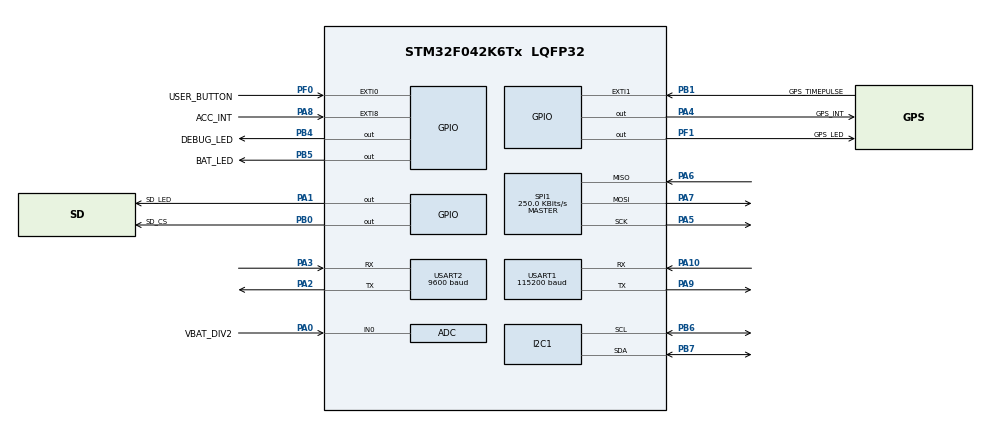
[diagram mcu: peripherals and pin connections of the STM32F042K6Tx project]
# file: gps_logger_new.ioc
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ADC.ClockPrescaler=ADC_CLOCK_SYNC_PCLK_DIV2
ADC.SamplingTime=ADC_SAMPLETIME_239CYCLES_5
Dma.ADC.0.Direction=DMA_PERIPH_TO_MEMORY
Dma.ADC.0.Instance=DMA1_Channel1
Dma.ADC.0.MemDataAlignment=DMA_MDATAALIGN_WORD
Dma.ADC.0.MemInc=DMA_MINC_ENABLE
Dma.ADC.0.Mode=DMA_NORMAL
Dma.ADC.0.PeriphDataAlignment=DMA_PDATAALIGN_WORD
Dma.ADC.0.PeriphInc=DMA_PINC_DISABLE
Dma.ADC.0.Priority=DMA_PRIORITY_LOW
Dma.Request0=ADC
FATFS._CODE_PAGE=1
FATFS._USE_MKFS=0
I2C1.Timing=0x2000090E
Mcu.Family=STM32F0
Mcu.Name=STM32F042K6Tx
Mcu.Package=LQFP32
NVIC.DMA1_Channel1_IRQn=true\:0\:0\:false\:false\:true
NVIC.EXTI0_1_IRQn=true\:0\:0\:false\:false\:true
NVIC.EXTI4_15_IRQn=true\:0\:0\:false\:false\:true
NVIC.USART2_IRQn=true\:0\:0\:false\:false\:true
PA0.GPIO_Label=VBAT_DIV2
PA0.Mode=IN0
PA0.Signal=ADC_IN0
PA1.GPIO_Label=SD_LED
PA1.Signal=GPIO_Output
PA10.Mode=Asynchronous
PA10.Signal=USART1_RX
PA13.Mode=Serial_Wire
PA13.Signal=SYS_SWDIO
PA14.Mode=Serial_Wire
PA14.Signal=SYS_SWCLK
PA2.Mode=Asynchronous
PA2.Signal=USART2_TX
PA3.Mode=Asynchronous
PA3.Signal=USART2_RX
PA4.GPIO_Label=GPS_INT
PA4.PinState=GPIO_PIN_SET
PA4.Signal=GPIO_Output
PA5.Mode=Full_Duplex_Master
PA5.Signal=SPI1_SCK
PA6.Mode=Full_Duplex_Master
PA6.Signal=SPI1_MISO
PA7.Mode=Full_Duplex_Master
PA7.Signal=SPI1_MOSI
PA8.GPIO_Label=ACC_INT
PA8.GPIO_PuPd=GPIO_PULLDOWN
PA8.Signal=GPXTI8
PA9.Mode=Asynchronous
PA9.Signal=USART1_TX
PB0.GPIO_Label=SD_CS
PB0.PinState=GPIO_PIN_SET
PB0.Signal=GPIO_Output
PB1.GPIO_Label=GPS_TIMEPULSE
PB1.GPIO_PuPd=GPIO_PULLDOWN
PB1.Signal=GPXTI1
PB4.GPIO_Label=DEBUG_LED
PB4.Signal=GPIO_Output
PB5.GPIO_Label=BAT_LED
PB5.Signal=GPIO_Output
PB6.Mode=I2C
PB6.Signal=I2C1_SCL
PB7.Mode=I2C
PB7.Signal=I2C1_SDA
PF0-OSC_IN.GPIO_Label=USER_BUTTON
PF0-OSC_IN.GPIO_ModeDefaultEXTI=GPIO_MODE_IT_FALLING
PF0-OSC_IN.GPIO_PuPd=GPIO_PULLUP
PF0-OSC_IN.Signal=GPXTI0
PF1-OSC_OUT.GPIO_Label=GPS_LED
PF1-OSC_OUT.Signal=GPIO_Output
ProjectManager.HeapSize=0x200
ProjectManager.StackSize=0x400
ProjectManager.TargetToolchain=MDK-ARM V5
RCC.Usart1ClockSelection=RCC_USART1CLKSOURCE_HSI
RCC.VDD_VALUE=3
SPI1.BaudRatePrescaler=SPI_BAUDRATEPRESCALER_32
SPI1.CLKPolarity=SPI_POLARITY_LOW
SPI1.CalculateBaudRate=250.0 KBits/s
SPI1.DataSize=SPI_DATASIZE_8BIT
SPI1.Mode=SPI_MODE_MASTER
USART1.BaudRate=115200
USART1.WordLength=UART_WORDLENGTH_8B
USART2.BaudRate=9600
USART2.WordLength=UART_WORDLENGTH_8B
VP_ADC_Vref_Input.Mode=IN-Vrefint
VP_FATFS_VS_Generic.Mode=User_defined
board=gps_logger_new

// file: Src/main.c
/**
  ******************************************************************************
  * File Name          : main.c
  * Description        : Main program body
  ******************************************************************************
  *
  * COPYRIGHT(c) 2016 STMicroelectronics
  *
  * Redistribution and use in source and binary forms, with or without modification,
  * are permitted provided that the following conditions are met:
  *   1. Redistributions of source code must retain the above copyright notice,
  *      this list of conditions and the following disclaimer.
  *   2. Redistributions in binary form must reproduce the above copyright notice,
  *      this list of conditions and the following disclaimer in the documentation
  *      and/or other materials provided with the distribution.
  *   3. Neither the name of STMicroelectronics nor the names of its contributors
  *      may be used to endorse or promote products derived from this software
  *      without specific prior written permission.
  *
  * THIS SOFTWARE IS PROVIDED BY THE COPYRIGHT HOLDERS AND CONTRIBUTORS "AS IS"
  * AND ANY EXPRESS OR IMPLIED WARRANTIES, INCLUDING, BUT NOT LIMITED TO, THE
  * IMPLIED WARRANTIES OF MERCHANTABILITY AND FITNESS FOR A PARTICULAR PURPOSE ARE
  * DISCLAIMED. IN NO EVENT SHALL THE COPYRIGHT HOLDER OR CONTRIBUTORS BE LIABLE
  * FOR ANY DIRECT, INDIRECT, INCIDENTAL, SPECIAL, EXEMPLARY, OR CONSEQUENTIAL
  * DAMAGES (INCLUDING, BUT NOT LIMITED TO, PROCUREMENT OF SUBSTITUTE GOODS OR
  * SERVICES; LOSS OF USE, DATA, OR PROFITS; OR BUSINESS INTERRUPTION) HOWEVER
  * CAUSED AND ON ANY THEORY OF LIABILITY, WHETHER IN CONTRACT, STRICT LIABILITY,
  * OR TORT (INCLUDING NEGLIGENCE OR OTHERWISE) ARISING IN ANY WAY OUT OF THE USE
  * OF THIS SOFTWARE, EVEN IF ADVISED OF THE POSSIBILITY OF SUCH DAMAGE.
  *
  ******************************************************************************
  */
#include "stm32f0xx_hal.h"
#include "fatfs.h"

/* USER CODE BEGIN Includes */
#include "sd_util.h"
#include "sleep.h"
#include "user_diskio.h"
#include "axdl345.h"
#include "helpers.h"
#include "mxconstants.h"
#include "shared.h"
#include "minmea.h"
/* USER CODE END Includes */

ADC_HandleTypeDef hadc;
DMA_HandleTypeDef hdma_adc;

I2C_HandleTypeDef hi2c1;

SPI_HandleTypeDef hspi1;

UART_HandleTypeDef huart1;
UART_HandleTypeDef huart2;

/* USER CODE BEGIN PV */
/* Private variables ---------------------------------------------------------*/
#define ACC_MOTION_THRESHOLD 10
#define GPS_SEARCH_PERIOD 4
wakeup_reason_type wakeup_reason;
FRESULT sd_fresult;
FATFS sd_fs;
FIL sd_file;
uint32_t sd_bytes_written;
volatile char gps_byte_buf[1];
linear_buf gps_scratch_lb;
struct minmea_sentence_rmc gps_rmc;
int32_t acc_ts;
float vbat;
int32_t last_fix_ts;
int32_t next_gps_search;
int32_t next_fix_check;
int32_t acc_override;
/* USER CODE END PV */

void SystemClock_Config(void);
void Error_Handler(void);
static void MX_GPIO_Init(void);
static void MX_DMA_Init(void);
static void MX_ADC_Init(void);
static void MX_I2C1_Init(void);
static void MX_SPI1_Init(void);
static void MX_USART1_UART_Init(void);
static void MX_USART2_UART_Init(void);

/* USER CODE BEGIN PFP */
/* Private function prototypes -----------------------------------------------*/

/* USER CODE END PFP */

/* USER CODE BEGIN 0 */
int fputc(int ch, FILE *f)
{
    HAL_UART_Transmit(&huart1, (unsigned char *)&ch, 1, 100);
    return ch;
}

/*
NMEA: disable everything except GGA and RMC
GNSS: enable GPS and GLONASS only
NAV5: wrist SHT: 0.5m/s SHED: 2m
PM2:  Cyclic tracking, updateperiod 4s  search period 30s, matm, ot, mssd all 0
RATE: 4s
*/
/* USER CODE END 0 */

int main(void)
{

  /* MCU Configuration----------------------------------------------------------*/

  /* Reset of all peripherals, Initializes the Flash interface and the Systick. */
  HAL_Init();

  /* Configure the system clock */
  SystemClock_Config();

  /* Initialize all configured peripherals */
  MX_GPIO_Init();
  MX_DMA_Init();
  MX_ADC_Init();
  MX_I2C1_Init();
  MX_SPI1_Init();
  MX_USART1_UART_Init();
  MX_USART2_UART_Init();
  MX_FATFS_Init();

  /* USER CODE BEGIN 2 */
  acc_ts = 0;
  last_fix_ts = -1;
  next_gps_search = -1;
  next_fix_check = -1;
  acc_override = -1;
  gps_off();
  acc_init();
  hwif_init_0();
  linear_buf_init(&gps_scratch_lb);
  printf("mounting...\n");
  sd_fresult = f_mount(&sd_fs, "", 1);
  if(sd_fresult != FR_OK)
    sd_error(sd_fresult);
  /* USER CODE END 2 */

  /* Infinite loop */
  /* USER CODE BEGIN WHILE */
  battery_crtl(1);
  deepsleep();
  while (1)
  {
  /* USER CODE END WHILE */

  /* USER CODE BEGIN 3 */
    if(wakeup_reason == USER_BUTTON)
    {
      printf("user button\n");
      if(gps_rmc.valid && last_fix_ts == acc_ts)
        HAL_GPIO_WritePin(GPS_LED_GPIO_Port, GPS_LED_Pin, HIGH);
      else
        HAL_GPIO_WritePin(GPS_LED_GPIO_Port, GPS_LED_Pin, LOW);
      vbat = check_battery();
      printf("battery: %f\n", vbat);
      if(vbat >= 1 && vbat < 3.5)
        HAL_GPIO_WritePin(BAT_LED_GPIO_Port, BAT_LED_Pin, HIGH);
      else if(vbat >= 1 && vbat < 3.4)
        low_bat_shutoff();
      else
        HAL_GPIO_WritePin(BAT_LED_GPIO_Port, BAT_LED_Pin, LOW);

      acc_override = acc_ts + GPS_SEARCH_PERIOD;
      next_fix_check = acc_ts + GPS_SEARCH_PERIOD;
      next_gps_search = -1;
      gps_on();
      HAL_GPIO_WritePin(DEBUG_LED_GPIO_Port, DEBUG_LED_Pin, HIGH);
      printf("overriding acc shutoff until %d\n", acc_override);

      HAL_Delay(1000);
      HAL_GPIO_WritePin(GPS_LED_GPIO_Port, GPS_LED_Pin, LOW);
      HAL_GPIO_WritePin(BAT_LED_GPIO_Port, BAT_LED_Pin, LOW);
    }
    if(wakeup_reason == GPS_TIMEPULSE)
    {
      HAL_GPIO_WritePin(GPS_LED_GPIO_Port, GPS_LED_Pin, HIGH);
      HAL_UART_Receive_IT(gps_uart_ptr, gps_byte_buf, 1);
      if(log_gps(&gps_scratch_lb) == 0)
      {
        printf("gps timepulse\n");
        last_fix_ts = acc_ts;
      }
      linear_buf_reset(&gps_scratch_lb);
      HAL_GPIO_WritePin(GPS_LED_GPIO_Port, GPS_LED_Pin, LOW);
    }
    if(wakeup_reason == ACC_WATERMARK || HAL_GPIO_ReadPin(ACC_INT_GPIO_Port, ACC_INT_Pin) == HIGH)
    {
      acc_ts++;
      vbat = check_battery();
      if(vbat >= 1 && vbat < 3.4)
        low_bat_shutoff();
      int16_t acc_result = acc_read_fifo();
      printf("acc wakeup: %d, %fV, %d, %d, %d, %d\n", acc_result, vbat, acc_ts, next_gps_search, last_fix_ts, next_fix_check);

      if(acc_ts < acc_override)
      {
        printf("user button override, no action.\n");
      }
      else if(acc_result < ACC_MOTION_THRESHOLD)
      {
        // has valid, up to date position fix and speed is great
        if(gps_rmc.valid && last_fix_ts == acc_ts - 1 && minmea_tofloat(&(gps_rmc.speed)) * 0.5144 > 10)
          printf("suppressing gps shutdown...\n");
        else
        {
          printf("no motion\n");
          gps_off();
          HAL_GPIO_WritePin(DEBUG_LED_GPIO_Port, DEBUG_LED_Pin, LOW);
          next_fix_check = acc_ts;
          next_gps_search = -1;
        }
      }
      else if(acc_result >= ACC_MOTION_THRESHOLD && acc_ts >= next_fix_check) // has motion
      {
        // no fix for a while, schedule next check 3 cycles later
        if(gps_status() == HIGH && acc_ts - last_fix_ts >= GPS_SEARCH_PERIOD + 1)
        {
          next_gps_search = acc_ts + GPS_SEARCH_PERIOD;
          printf("no fix in the last %d periods, next try at %d\n", GPS_SEARCH_PERIOD, next_gps_search);
          gps_off();
          HAL_GPIO_WritePin(DEBUG_LED_GPIO_Port, DEBUG_LED_Pin, LOW);
        }
        else if(acc_ts <= next_gps_search)
        {
          printf("waiting for next search period\n");
          gps_off();
          HAL_GPIO_WritePin(DEBUG_LED_GPIO_Port, DEBUG_LED_Pin, LOW);
        }
        else
        {
          gps_on();
          HAL_GPIO_WritePin(DEBUG_LED_GPIO_Port, DEBUG_LED_Pin, HIGH);
          next_fix_check = acc_ts + GPS_SEARCH_PERIOD;
          printf("next_fix_check: %d\n", next_fix_check);
        }
      }
    }
    deepsleep();
  }

  /*
  turn off all lights before low bat shutoff
  low bat shutoff before mounting sd
  walking speed delay gps turn off
  enable low power mode
  look up software reset
  userbutton dump,  led status
  low voltage shut off
  don't forget to pull all sd spi pins to reduce sleep current
  https://edwardmallon.wordpress.com/2014/09/22/high-sleep-current-problem-solved/

  STM32F072 is a cheap and powerful part

  "The HAL_RTC_SetTime() must be called before enabling the Alarm feature"?

  investigate timepulse without fix
  */

  /* USER CODE END 3 */

}

/** System Clock Configuration
*/
void SystemClock_Config(void)
{

  RCC_OscInitTypeDef RCC_OscInitStruct;
  RCC_ClkInitTypeDef RCC_ClkInitStruct;
  RCC_PeriphCLKInitTypeDef PeriphClkInit;

  RCC_OscInitStruct.OscillatorType = RCC_OSCILLATORTYPE_HSI;
  RCC_OscInitStruct.HSIState = RCC_HSI_ON;
  RCC_OscInitStruct.HSICalibrationValue = 16;
  RCC_OscInitStruct.PLL.PLLState = RCC_PLL_NONE;
  if (HAL_RCC_OscConfig(&RCC_OscInitStruct) != HAL_OK)
  {
    Error_Handler();
  }

  RCC_ClkInitStruct.ClockType = RCC_CLOCKTYPE_HCLK|RCC_CLOCKTYPE_SYSCLK
                              |RCC_CLOCKTYPE_PCLK1;
  RCC_ClkInitStruct.SYSCLKSource = RCC_SYSCLKSOURCE_HSI;
  RCC_ClkInitStruct.AHBCLKDivider = RCC_SYSCLK_DIV1;
  RCC_ClkInitStruct.APB1CLKDivider = RCC_HCLK_DIV1;
  if (HAL_RCC_ClockConfig(&RCC_ClkInitStruct, FLASH_LATENCY_0) != HAL_OK)
  {
    Error_Handler();
  }

  PeriphClkInit.PeriphClockSelection = RCC_PERIPHCLK_USART1|RCC_PERIPHCLK_I2C1;
  PeriphClkInit.Usart1ClockSelection = RCC_USART1CLKSOURCE_HSI;
  PeriphClkInit.I2c1ClockSelection = RCC_I2C1CLKSOURCE_HSI;
  if (HAL_RCCEx_PeriphCLKConfig(&PeriphClkInit) != HAL_OK)
  {
    Error_Handler();
  }

  HAL_SYSTICK_Config(HAL_RCC_GetHCLKFreq()/1000);

  HAL_SYSTICK_CLKSourceConfig(SYSTICK_CLKSOURCE_HCLK);

  /* SysTick_IRQn interrupt configuration */
  HAL_NVIC_SetPriority(SysTick_IRQn, 0, 0);
}

/* ADC init function */
static void MX_ADC_Init(void)
{

  ADC_ChannelConfTypeDef sConfig;

    /**Configure the global features of the ADC (Clock, Resolution, Data Alignment and number of conversion)
    */
  hadc.Instance = ADC1;
  hadc.Init.ClockPrescaler = ADC_CLOCK_SYNC_PCLK_DIV2;
  hadc.Init.Resolution = ADC_RESOLUTION_12B;
  hadc.Init.DataAlign = ADC_DATAALIGN_RIGHT;
  hadc.Init.ScanConvMode = ADC_SCAN_DIRECTION_FORWARD;
  hadc.Init.EOCSelection = ADC_EOC_SINGLE_CONV;
  hadc.Init.LowPowerAutoWait = DISABLE;
  hadc.Init.LowPowerAutoPowerOff = DISABLE;
  hadc.Init.ContinuousConvMode = DISABLE;
  hadc.Init.DiscontinuousConvMode = DISABLE;
  hadc.Init.ExternalTrigConvEdge = ADC_EXTERNALTRIGCONVEDGE_NONE;
  hadc.Init.DMAContinuousRequests = DISABLE;
  hadc.Init.Overrun = ADC_OVR_DATA_PRESERVED;
  if (HAL_ADC_Init(&hadc) != HAL_OK)
  {
    Error_Handler();
  }

    /**Configure for the selected ADC regular channel to be converted.
    */
  sConfig.Channel = ADC_CHANNEL_0;
  sConfig.Rank = ADC_RANK_CHANNEL_NUMBER;
  sConfig.SamplingTime = ADC_SAMPLETIME_239CYCLES_5;
  if (HAL_ADC_ConfigChannel(&hadc, &sConfig) != HAL_OK)
  {
    Error_Handler();
  }

    /**Configure for the selected ADC regular channel to be converted.
    */
  sConfig.Channel = ADC_CHANNEL_VREFINT;
  if (HAL_ADC_ConfigChannel(&hadc, &sConfig) != HAL_OK)
  {
    Error_Handler();
  }

}

/* I2C1 init function */
static void MX_I2C1_Init(void)
{

  hi2c1.Instance = I2C1;
  hi2c1.Init.Timing = 0x2000090E;
  hi2c1.Init.OwnAddress1 = 0;
  hi2c1.Init.AddressingMode = I2C_ADDRESSINGMODE_7BIT;
  hi2c1.Init.DualAddressMode = I2C_DUALADDRESS_DISABLE;
  hi2c1.Init.OwnAddress2 = 0;
  hi2c1.Init.OwnAddress2Masks = I2C_OA2_NOMASK;
  hi2c1.Init.GeneralCallMode = I2C_GENERALCALL_DISABLE;
  hi2c1.Init.NoStretchMode = I2C_NOSTRETCH_DISABLE;
  if (HAL_I2C_Init(&hi2c1) != HAL_OK)
  {
    Error_Handler();
  }

    /**Configure Analogue filter
    */
  if (HAL_I2CEx_ConfigAnalogFilter(&hi2c1, I2C_ANALOGFILTER_ENABLE) != HAL_OK)
  {
    Error_Handler();
  }

}

/* SPI1 init function */
static void MX_SPI1_Init(void)
{

  hspi1.Instance = SPI1;
  hspi1.Init.Mode = SPI_MODE_MASTER;
  hspi1.Init.Direction = SPI_DIRECTION_2LINES;
  hspi1.Init.DataSize = SPI_DATASIZE_8BIT;
  hspi1.Init.CLKPolarity = SPI_POLARITY_LOW;
  hspi1.Init.CLKPhase = SPI_PHASE_1EDGE;
  hspi1.Init.NSS = SPI_NSS_SOFT;
  hspi1.Init.BaudRatePrescaler = SPI_BAUDRATEPRESCALER_32;
  hspi1.Init.FirstBit = SPI_FIRSTBIT_MSB;
  hspi1.Init.TIMode = SPI_TIMODE_DISABLE;
  hspi1.Init.CRCCalculation = SPI_CRCCALCULATION_DISABLE;
  hspi1.Init.CRCPolynomial = 7;
  hspi1.Init.CRCLength = SPI_CRC_LENGTH_DATASIZE;
  hspi1.Init.NSSPMode = SPI_NSS_PULSE_ENABLE;
  if (HAL_SPI_Init(&hspi1) != HAL_OK)
  {
    Error_Handler();
  }

}

/* USART1 init function */
static void MX_USART1_UART_Init(void)
{

  huart1.Instance = USART1;
  huart1.Init.BaudRate = 115200;
  huart1.Init.WordLength = UART_WORDLENGTH_8B;
  huart1.Init.StopBits = UART_STOPBITS_1;
  huart1.Init.Parity = UART_PARITY_NONE;
  huart1.Init.Mode = UART_MODE_TX_RX;
  huart1.Init.HwFlowCtl = UART_HWCONTROL_NONE;
  huart1.Init.OverSampling = UART_OVERSAMPLING_16;
  huart1.Init.OneBitSampling = UART_ONE_BIT_SAMPLE_DISABLE;
  huart1.AdvancedInit.AdvFeatureInit = UART_ADVFEATURE_NO_INIT;
  if (HAL_UART_Init(&huart1) != HAL_OK)
  {
    Error_Handler();
  }

}

/* USART2 init function */
static void MX_USART2_UART_Init(void)
{

  huart2.Instance = USART2;
  huart2.Init.BaudRate = 9600;
  huart2.Init.WordLength = UART_WORDLENGTH_8B;
  huart2.Init.StopBits = UART_STOPBITS_1;
  huart2.Init.Parity = UART_PARITY_NONE;
  huart2.Init.Mode = UART_MODE_TX_RX;
  huart2.Init.HwFlowCtl = UART_HWCONTROL_NONE;
  huart2.Init.OverSampling = UART_OVERSAMPLING_16;
  huart2.Init.OneBitSampling = UART_ONE_BIT_SAMPLE_DISABLE;
  huart2.AdvancedInit.AdvFeatureInit = UART_ADVFEATURE_NO_INIT;
  if (HAL_UART_Init(&huart2) != HAL_OK)
  {
    Error_Handler();
  }

}

static void MX_DMA_Init(void)
{
  /* DMA controller clock enable */
  __HAL_RCC_DMA1_CLK_ENABLE();

  /* DMA interrupt init */
  /* DMA1_Channel1_IRQn interrupt configuration */
  HAL_NVIC_SetPriority(DMA1_Channel1_IRQn, 0, 0);
  HAL_NVIC_EnableIRQ(DMA1_Channel1_IRQn);

}

/** Configure pins as
        * Analog
        * Input
        * Output
        * EVENT_OUT
        * EXTI
*/
static void MX_GPIO_Init(void)
{

  GPIO_InitTypeDef GPIO_InitStruct;

  /* GPIO Ports Clock Enable */
  __HAL_RCC_GPIOF_CLK_ENABLE();
  __HAL_RCC_GPIOA_CLK_ENABLE();
  __HAL_RCC_GPIOB_CLK_ENABLE();

  /*Configure GPIO pin : USER_BUTTON_Pin */
  GPIO_InitStruct.Pin = USER_BUTTON_Pin;
  GPIO_InitStruct.Mode = GPIO_MODE_IT_FALLING;
  GPIO_InitStruct.Pull = GPIO_PULLUP;
  HAL_GPIO_Init(USER_BUTTON_GPIO_Port, &GPIO_InitStruct);

  /*Configure GPIO pin : GPS_LED_Pin */
  GPIO_InitStruct.Pin = GPS_LED_Pin;
  GPIO_InitStruct.Mode = GPIO_MODE_OUTPUT_PP;
  GPIO_InitStruct.Pull = GPIO_NOPULL;
  GPIO_InitStruct.Speed = GPIO_SPEED_FREQ_LOW;
  HAL_GPIO_Init(GPS_LED_GPIO_Port, &GPIO_InitStruct);

  /*Configure GPIO pins : SD_LED_Pin GPS_INT_Pin */
  GPIO_InitStruct.Pin = SD_LED_Pin|GPS_INT_Pin;
  GPIO_InitStruct.Mode = GPIO_MODE_OUTPUT_PP;
  GPIO_InitStruct.Pull = GPIO_NOPULL;
  GPIO_InitStruct.Speed = GPIO_SPEED_FREQ_LOW;
  HAL_GPIO_Init(GPIOA, &GPIO_InitStruct);

  /*Configure GPIO pins : SD_CS_Pin DEBUG_LED_Pin BAT_LED_Pin */
  GPIO_InitStruct.Pin = SD_CS_Pin|DEBUG_LED_Pin|BAT_LED_Pin;
  GPIO_InitStruct.Mode = GPIO_MODE_OUTPUT_PP;
  GPIO_InitStruct.Pull = GPIO_NOPULL;
  GPIO_InitStruct.Speed = GPIO_SPEED_FREQ_LOW;
  HAL_GPIO_Init(GPIOB, &GPIO_InitStruct);

  /*Configure GPIO pin : GPS_TIMEPULSE_Pin */
  GPIO_InitStruct.Pin = GPS_TIMEPULSE_Pin;
  GPIO_InitStruct.Mode = GPIO_MODE_IT_RISING;
  GPIO_InitStruct.Pull = GPIO_PULLDOWN;
  HAL_GPIO_Init(GPS_TIMEPULSE_GPIO_Port, &GPIO_InitStruct);

  /*Configure GPIO pin : ACC_INT_Pin */
  GPIO_InitStruct.Pin = ACC_INT_Pin;
  GPIO_InitStruct.Mode = GPIO_MODE_IT_RISING;
  GPIO_InitStruct.Pull = GPIO_PULLDOWN;
  HAL_GPIO_Init(ACC_INT_GPIO_Port, &GPIO_InitStruct);

  /*Configure GPIO pin Output Level */
  HAL_GPIO_WritePin(GPS_LED_GPIO_Port, GPS_LED_Pin, GPIO_PIN_RESET);

  /*Configure GPIO pin Output Level */
  HAL_GPIO_WritePin(SD_LED_GPIO_Port, SD_LED_Pin, GPIO_PIN_RESET);

  /*Configure GPIO pin Output Level */
  HAL_GPIO_WritePin(GPS_INT_GPIO_Port, GPS_INT_Pin, GPIO_PIN_SET);

  /*Configure GPIO pin Output Level */
  HAL_GPIO_WritePin(SD_CS_GPIO_Port, SD_CS_Pin, GPIO_PIN_SET);

  /*Configure GPIO pin Output Level */
  HAL_GPIO_WritePin(GPIOB, DEBUG_LED_Pin|BAT_LED_Pin, GPIO_PIN_RESET);

  /* EXTI interrupt init*/
  HAL_NVIC_SetPriority(EXTI0_1_IRQn, 0, 0);
  HAL_NVIC_EnableIRQ(EXTI0_1_IRQn);

  HAL_NVIC_SetPriority(EXTI4_15_IRQn, 0, 0);
  HAL_NVIC_EnableIRQ(EXTI4_15_IRQn);

}

/* USER CODE BEGIN 4 */
void HAL_GPIO_EXTI_Callback(uint16_t GPIO_Pin)
{
  if(GPIO_Pin == ACC_INT_Pin)
    wakeup_reason = ACC_WATERMARK;

  if(GPIO_Pin == USER_BUTTON_Pin)
    wakeup_reason = USER_BUTTON;

  if(GPIO_Pin == GPS_TIMEPULSE_Pin)
    wakeup_reason = GPS_TIMEPULSE;
}

void HAL_UART_RxCpltCallback(UART_HandleTypeDef *huart)
{
  if(huart->Instance==USART2)
  {
      linear_buf_add(&gps_scratch_lb, gps_byte_buf[0]);
      HAL_UART_Receive_IT(gps_uart_ptr, gps_byte_buf, 1);
  }
}

void HAL_UART_ErrorCallback(UART_HandleTypeDef *huart)
{
  if(huart->Instance==USART2)
    HAL_UART_Receive_IT(gps_uart_ptr, gps_byte_buf, 1);
}

/* USER CODE END 4 */

void Error_Handler(void)
{
  while(1)
  {
  }
}

/************************ (C) COPYRIGHT STMicroelectronics *****END OF FILE****/
